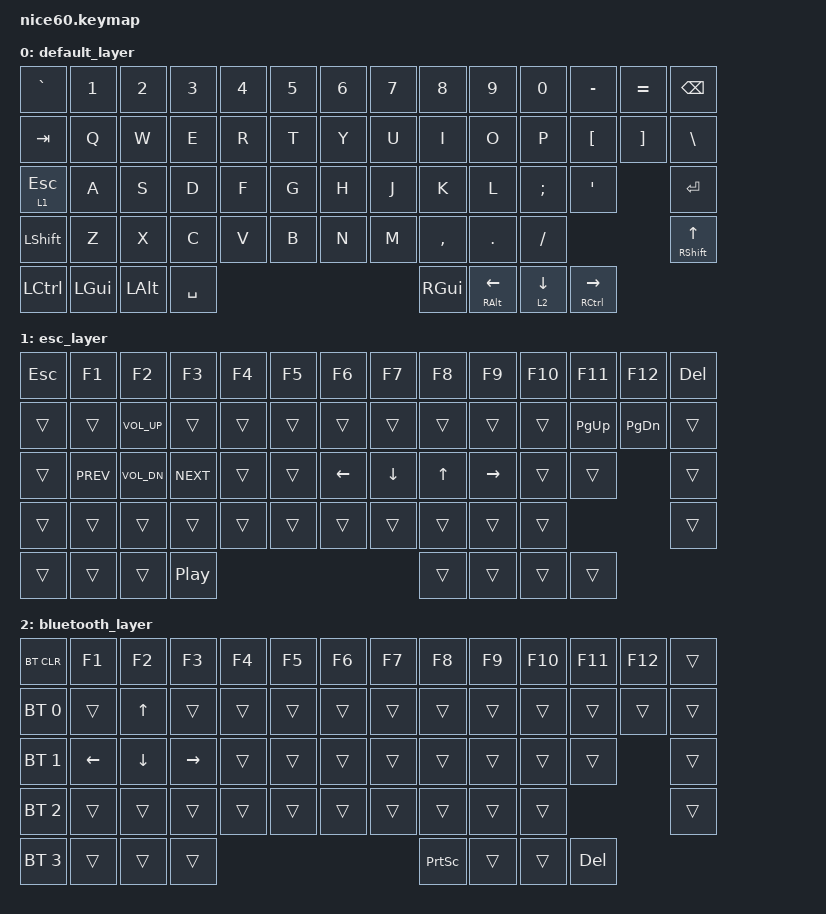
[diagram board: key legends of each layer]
/*
 * Copyright (c) 2021 Nick Winans
 *
 * SPDX-License-Identifier: MIT
 */

#include <behaviors.dtsi>
#include <dt-bindings/zmk/keys.h>
#include <dt-bindings/zmk/bt.h>
#include <dt-bindings/zmk/outputs.h>
#include <dt-bindings/zmk/reset.h>
#include <dt-bindings/zmk/ext_power.h>

/ {
	keymap {
		compatible = "zmk,keymap";
		
		default_layer {
// ------------------------------------------------------------------------------------------
// | `.  |  1  |  2  |  3  |  4  |  5  |  6  |  7  |  8  |  9  |  0  |  -  |  =  |   BKSP   |
// | TAB  |  Q  |  W  |  E  |  R  |  T  |  Y  |  U  |  I  |  O  |  P  |  [  |  ]  |   "|"   |
// | ESC(1)|  A  |  S  |  D  |  F  |  G  |  H  |  J  |  K  |  L  |  ;  |  '  |     ENTER    |
// |  SHIFT  |  Z  |  X  |  C  |  V  |  B  |  N  |  M  |  ,  |  .  |  /  |     SHIFT (UP)   |
// |  CTL  |  WIN  |  ALT  |            SPACE              |  WIN  | ALT(L)| MO2(D) | CTL(R)|
// ------------------------------------------------------------------------------------------
			bindings = <
	&kp GRAVE  &kp N1 &kp N2 &kp N3 &kp N4 &kp N5 &kp N6 &kp N7 &kp N8 &kp N9 &kp N0 &kp MINUS &kp EQUAL  &kp BSPC
	&kp TAB  &kp Q  &kp W  &kp E  &kp R  &kp T  &kp Y  &kp U  &kp I  &kp O  &kp P  &kp LBKT  &kp RBKT  &kp BSLH
	&lt 1 ESC  &kp A  &kp S  &kp D  &kp F  &kp G  &kp H  &kp J  &kp K  &kp L  &kp SEMI &kp SQT           &kp RET
	&kp LSHFT   &kp Z  &kp X  &kp C  &kp V  &kp B  &kp N  &kp M  &kp COMMA &kp DOT &kp FSLH           &mt RSHFT UP
	&kp LCTRL &kp LGUI &kp LALT             &kp SPACE              &kp RGUI  &mt RALT LEFT  &lt 2 DOWN   &mt RCTRL RIGHT
			>;
		};
		
		esc_layer {
			// Hold Esc for function keys, navigation and media controls.
			// Esc + Backspace = Delete; Esc + [ = Page Up; Esc + ] = Page Down.
			bindings = <
				&kp ESC   &kp F1     &kp F2          &kp F3     &kp F4   &kp F5   &kp F6    &kp F7    &kp F8    &kp F9    &kp F10   &kp F11   &kp F12    &kp DEL
				&trans    &trans     &kp C_VOL_UP    &trans     &trans   &trans   &trans    &trans    &trans    &trans    &trans    &kp PG_UP &kp PG_DN &trans
				&trans    &kp C_PREV &kp C_VOL_DN    &kp C_NEXT &trans   &trans   &kp LEFT &kp DOWN &kp UP   &kp RIGHT &trans    &trans               &trans
				&trans    &trans     &trans          &trans     &trans   &trans   &trans    &trans    &trans    &trans    &trans                         &trans
				&trans    &trans     &trans                        &kp C_PLAY_PAUSE                      &trans    &trans    &trans    &trans
			>;
		};

		bluetooth_layer {
			// Hold the bottom-row Down key to access this layer.
			// Down + Grave clears the selected BT profile.
			// Down + Tab / Esc / Left Shift / Left Ctrl select BT profiles 1-4.
			bindings = <
				&bt BT_CLR   &kp F1    &kp F2   &kp F3    &kp F4   &kp F5   &kp F6   &kp F7   &kp F8   &kp F9   &kp F10  &kp F11  &kp F12  &trans
				&bt BT_SEL 0 &trans    &kp UP   &trans    &trans   &trans   &trans   &trans   &trans   &trans   &trans   &trans   &trans   &trans
				&bt BT_SEL 1 &kp LEFT &kp DOWN &kp RIGHT &trans   &trans   &trans   &trans   &trans   &trans   &trans   &trans            &trans
				&bt BT_SEL 2 &trans    &trans   &trans    &trans   &trans   &trans   &trans   &trans   &trans   &trans                     &trans
				&bt BT_SEL 3 &trans    &trans                    &trans                           &kp PSCRN &trans   &trans   &kp DEL
			>;
		};
	};
};
